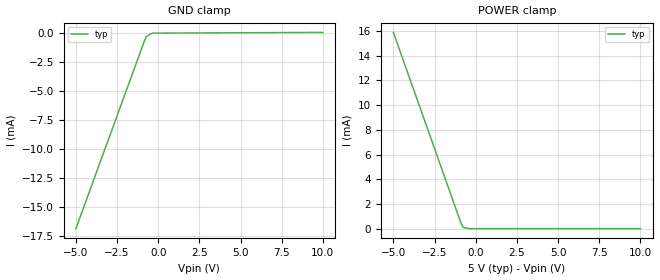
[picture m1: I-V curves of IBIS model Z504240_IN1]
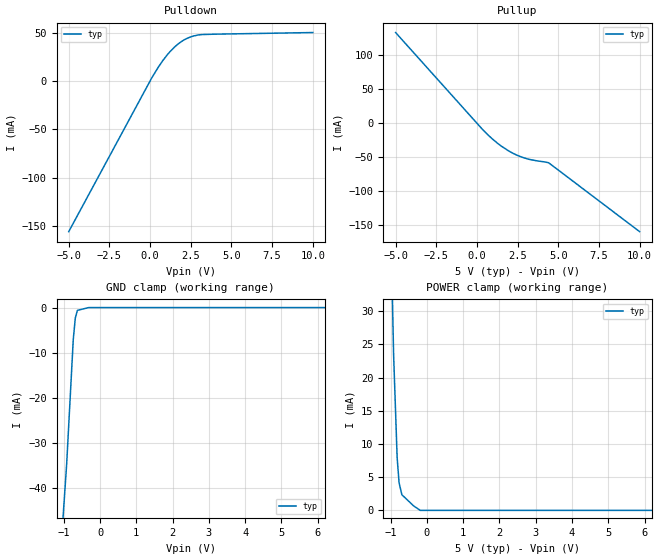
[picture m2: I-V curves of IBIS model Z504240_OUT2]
| YOU ARE ONLY AUTHORIZED TO USE THIS SOFTWARE
| ACCORDING TO LICENSOR'S LICENSE RESTRICTIONS.
[IBIS Ver] 3.1
[File Name] mc74hc4075d.ibs
[File Rev] 2.0
[Source] Measured and created by ICX Technology
[Date] Friday 7/14/00 9:08:10 AM
[Copyright]
| (C) COPYRIGHT 1993-2000
| MENTOR GRAPHICS CORPORATION
| ICX STANDARD LIBRARY, ICX PROJECT MODELING,
| ICX CUSTOM MODELING, ICX VENDOR MODEL
| ALL RIGHTS RESERVED.
| THE FOLLOWING ARE TRADEMARKS OR SERVICE MARKS OF
| MENTOR GRAPHICS CORPORATION:ICX (R), ICX STANDARD
| LIBRARY(R), ICX PROJECT MODELING(R), ICX CUSTOM
| MODELING(R), qualityIBIS(TM), MODELVIEWER(TM),
| AND MODELEDITOR(TM)
| ALL COPIES OF SOFTWARE, INCLUDING BUT NOT LIMITED TO
| ANY MODIFICATIONS, ENHANCEMENTS OR DERIVATIVE WORKS,
| MUST CONTAIN ALL MENTOR GRAPHICS CORPORATION'S
| NOTICES AND LEGENDS, INCLUDING THOSE EMBEDDED IN
| SOFTWARE AND THOSE AFFIXED TO SOFTWARE MEDIUM
| AND CONTAINER, AS RECEIVED FROM MENTOR GRAPHICS
| CORPORATION.
|  ZAP Model Builder 2.7
[Component] MC74HC4075D
[Manufacturer] OnSemiconductor
[Package]
| variable   typ   min   max
R_pkg  .155ohms NA NA
L_pkg  3.028nH NA NA
C_pkg  .381pF NA NA
[Pin] signal_name  model_name  R_pin  L_pin C_pin
1 A Z504240_IN1 .16 3.587n .407p
2 B Z504240_IN1 .156 3.147n .387p
3 A Z504240_IN1 .152 2.717n .367p
4 B Z504240_IN1 .148 2.297n .347p
5 C Z504240_IN1 .152 2.717n .367p
6 Y Z504240_OUT2 .156 3.147n .387p
7 GROUND GND .16 3.587n .407p
8 C Z504240_IN1 .16 3.587n .407p
9 Y Z504240_OUT2 .156 3.147n .387p
10 Y Z504240_OUT2 .152 2.717n .367p
11 A Z504240_IN1 .148 2.297n .347p
12 B Z504240_IN1 .152 2.717n .367p
13 C Z504240_IN1 .156 3.147n .387p
14 VCC POWER .16 3.587n .407p
| Models and submodels in the file (2): Z504240_IN1 (Input), Z504240_OUT2 (Output)
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| (C) COPYRIGHT 1993-2000
| MENTOR GRAPHICS CORPORATION
| ICX STANDARD LIBRARY, ICX PROJECT MODELING,
| ICX CUSTOM MODELING, ICX VENDOR MODEL
| ALL RIGHTS RESERVED.
| THE FOLLOWING ARE TRADEMARKS OR SERVICE MARKS OF
| MENTOR GRAPHICS CORPORATION:ICX (R), ICX STANDARD
| LIBRARY(R), ICX PROJECT MODELING(R), ICX CUSTOM
| MODELING(R), qualityIBIS(TM), MODELVIEWER(TM),
| AND MODELEDITOR(TM)
| ALL COPIES OF SOFTWARE, INCLUDING BUT NOT LIMITED TO
| ANY MODIFICATIONS, ENHANCEMENTS OR DERIVATIVE WORKS,
| MUST CONTAIN ALL MENTOR GRAPHICS CORPORATION'S
| NOTICES AND LEGENDS, INCLUDING THOSE EMBEDDED IN
| SOFTWARE AND THOSE AFFIXED TO SOFTWARE MEDIUM
| AND CONTAINER, AS RECEIVED FROM MENTOR GRAPHICS
| CORPORATION.
| Model Application Version 1.89 2/18/99.
[Model] Z504240_IN1
Model_type Input
Vinl = 1.000V
Vinh = 3.500V
C_comp 4.000pF NA NA
| variable typ   min   max
[Voltage Range] 5.000V NA NA
[GND Clamp Reference] 0.000V NA NA
[POWER Clamp Reference] 5.000V NA NA
[GND Clamp]
-5V       -16.86mA   NA         NA
-840.9mV  -709.4uA   NA         NA
-727.4mV  -326.2uA   NA         NA
-363.7mV  -27.67uA   NA         NA
10V       37.11uA    NA         NA
[POWER Clamp]
-5V       15.89mA    NA         NA
-907mV    496.1uA    NA         NA
-750mV    91.05uA    NA         NA
-375mV    0A         NA         NA
10V       0A         NA         NA
| (C) COPYRIGHT 1993-2000
| MENTOR GRAPHICS CORPORATION
| ICX STANDARD LIBRARY, ICX PROJECT MODELING,
| ICX CUSTOM MODELING, ICX VENDOR MODEL
| ALL RIGHTS RESERVED.
| THE FOLLOWING ARE TRADEMARKS OR SERVICE MARKS OF
| MENTOR GRAPHICS CORPORATION:ICX (R), ICX STANDARD
| LIBRARY(R), ICX PROJECT MODELING(R), ICX CUSTOM
| MODELING(R), qualityIBIS(TM), MODELVIEWER(TM),
| AND MODELEDITOR(TM)
| ALL COPIES OF SOFTWARE, INCLUDING BUT NOT LIMITED TO
| ANY MODIFICATIONS, ENHANCEMENTS OR DERIVATIVE WORKS,
| MUST CONTAIN ALL MENTOR GRAPHICS CORPORATION'S
| NOTICES AND LEGENDS, INCLUDING THOSE EMBEDDED IN
| SOFTWARE AND THOSE AFFIXED TO SOFTWARE MEDIUM
| AND CONTAINER, AS RECEIVED FROM MENTOR GRAPHICS
| CORPORATION.
| Model Application Version 1.89 2/18/99.
[Model] Z504240_OUT2
Model_type Output
Vref=0.000V
Rref=500.0Mohms
Cref=50.00pF
Vmeas=2.500V
C_comp 8.000pF NA NA
| variable typ   min   max
[Voltage Range] 5.000V NA NA
[POWER Clamp Reference] 5.000V NA NA
[Pullup Reference] 5.000V NA NA
[Pulldown Reference] 0.000V NA NA
[GND Clamp Reference] 0.000V NA NA
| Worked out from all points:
|   slope of the pulldown table from 0 to 0.75 V, typ, clamps not added: 36.9 ohm
|   slope of the pullup table from 0 to 0.75 V, typ, clamps not added: 39.9 ohm
|   GND clamp passes 1 mA (typ) near -0.64 V on its own axis
[GND Clamp]
-5V       -330.4mA   NA         NA
-1.231V   -66.11mA   NA         NA
-1.038V   -48.76mA   NA         NA
-919.7mV  -34.67mA   NA         NA
-738.4mV  -7.073mA   NA         NA
-682mV    -2.315mA   NA         NA
-625.2mV  -628.2uA   NA         NA
-312.6mV  0A         NA         NA
10V       0A         NA         NA
[Pulldown]
-5V       -156.1mA   NA         NA
102.8mV   3.261mA    NA         NA
802mV     21.66mA    NA         NA
1.231V    30.58mA    NA         NA
1.739V    38.67mA    NA         NA
2.075V    42.53mA    NA         NA
2.491V    45.77mA    NA         NA
3.205V    48.21mA    NA         NA
10V       50.3mA     NA         NA
[Pullup]
-5V       132.8mA    NA         NA
315mV     -9.113mA   NA         NA
1.246V    -29.82mA   NA         NA
1.954V    -41.53mA   NA         NA
2.643V    -49.57mA   NA         NA
3.218V    -53.92mA   NA         NA
4.41V     -58.95mA   NA         NA
10V       -160.3mA   NA         NA
[POWER Clamp]
-5V       1.325A     NA         NA
-1.104V   71.62mA    NA         NA
-919mV    23.5mA     NA         NA
-821mV    7.925mA    NA         NA
-768mV    4.17mA     NA         NA
-691mV    2.357mA    NA         NA
-367mV    673.4uA    NA         NA
-183.5mV  0A         NA         NA
10V       0A         NA         NA
[Ramp]
| variable typ min max
dV/dt_r 2.806/1.457n NA NA
dV/dt_f 2.806/1.408n NA NA
R_load = 500.0Ohms
